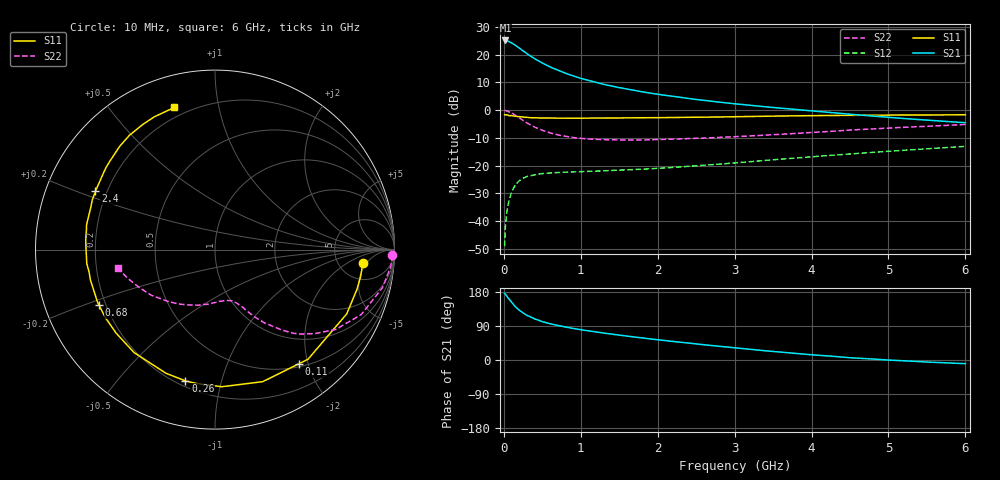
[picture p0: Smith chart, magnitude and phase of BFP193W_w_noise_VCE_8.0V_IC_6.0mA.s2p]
! Infineon Technologies  Discrete & RF Semiconductors
! BFP193W
! VCE = 8.0 V,  IC =  6.0 mA
! Common Emitter S-Parameters:  Jan 2016
# GHz  S  MA  R  50
!  f  S11  S21  S12  S22
! GHz  MAG  ANG  MAG  ANG  MAG  ANG  MAG  ANG
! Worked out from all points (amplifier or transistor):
!   210 points, 10 MHz to 6 GHz, reference 50 ohm
!   highest |S21| = 25.1 dB at 20 MHz (marker M1)
!   |S21| within 3 dB of that: start of sweep to 212.7 MHz
!   unconditionally stable (mu >= 1): 1.654 GHz to 4.609 GHz
!   at 185 MHz: K = 0.15, MSG = 24.3 dB, |S12| = -25.9 dB
!   at 1.52 GHz: K = 0.95, MSG = 14.9 dB, |S12| = -21.7 dB
!   at 6 GHz: K = 0.91, MSG = 4.3 dB, |S12| = -13.1 dB
!   lowest NFmin = 1.20 dB at 450 MHz
!   S11 on the Smith chart (normalised r, x): 10 MHz: 8.61, -4.09; 110 MHz: 0.55, -1.85; 260 MHz: 0.23, -0.77; 680 MHz: 0.17, -0.22; 2.4 GHz: 0.16, +0.23; 6 GHz: 0.15, +0.74
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0.01  0.8272 -5.2  18.04 176.0  0.0035 89.1  0.9887 -1.8
0.02  0.8251 -10.5  18.07 174.0  0.0076 82.0  0.9844 -5.3
0.05  0.8167 -26.0  17.68 165.4  0.0182 76.9  0.9569 -12.8
0.1  0.8011 -49.7  16.42 152.1  0.0329 65.3  0.8916 -23.9
0.11  0.7894 -53.7  16.06 150.0  0.0352 62.8  0.873 -25.7
0.15  0.7824 -70.1  14.85 140.5  0.0448 55.5  0.8077 -33.4
0.2  0.765 -87.1  13.18 131.3  0.053 48.4  0.7237 -40.4
0.26  0.7496 -102.7  11.45 122.9  0.0598 41.9  0.6394 -46.8
0.3  0.7412 -111.6  10.4 117.8  0.0633 38.4  0.5873 -50.0
0.4  0.7298 -128.1  8.446 108.4  0.0682 32.5  0.4939 -55.9
0.5  0.7211 -139.8  7.044 101.2  0.0715 29.0  0.4316 -59.7
0.6  0.7189 -148.5  6.002 95.7  0.0733 26.9  0.3876 -62.5
0.68  0.7165 -154.3  5.399 92.1  0.0746 25.9  0.3628 -63.9
0.8  0.7123 -161.2  4.62 86.9  0.0758 25.0  0.3363 -66.3
1.02  0.7137 -170.8  3.676 79.4  0.0778 24.8  0.3072 -70.4
1.4  0.7214 176.8  2.719 68.2  0.0812 26.6  0.2908 -77.3
2.02  0.7303 161.6  1.914 53.0  0.0892 32.5  0.2949 -89.5
2.4  0.7417 153.9  1.618 44.6  0.0961 35.6  0.3074 -97.5
3.1  0.7631 141.1  1.26 30.3  0.1142 40.0  0.3358 -113.1
4.1  0.7967 125.3  0.938 12.4  0.1473 41.3  0.4009 -135.8
5.1  0.8136 113.8  0.722 -1.1  0.1845 38.9  0.4816 -155.7
6  0.8244 105.9  0.592 -9.7  0.2217 35.3  0.5494 -169.0
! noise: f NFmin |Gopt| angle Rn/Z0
0.45  1.2  0.25  114  0.13
0.9  1.25  0.37  150  0.12
1.8  2  0.55  -158  0.12
